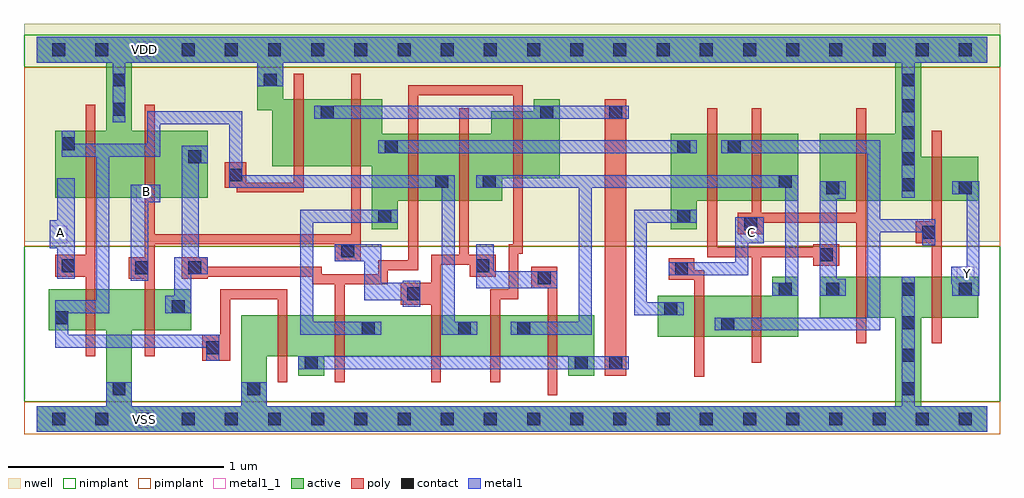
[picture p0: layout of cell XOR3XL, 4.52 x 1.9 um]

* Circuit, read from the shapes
.subckt XOR3XL A B C VDD VSS Y
M1 VSS A n1 VSS nfet w=0.19u l=0.045u
M2 n2 B VSS VSS nfet w=0.19u l=0.045u
M3 n3 n1 VSS VSS nfet w=0.19u l=0.045u
M4 n4 n2 n3 VSS nfet w=0.19u l=0.045u
M5 n1 B n4 VSS nfet w=0.19u l=0.045u
M6 n5 n2 n1 VSS nfet w=0.19u l=0.045u
M7 n3 B n5 VSS nfet w=0.19u l=0.045u
M8 n6 C n4 VSS nfet w=0.19u l=0.045u
M9 n5 n7 n6 VSS nfet w=0.19u l=0.045u
M10 VSS C n7 VSS nfet w=0.19u l=0.045u
M11 Y n6 VSS VSS nfet w=0.19u l=0.045u
M12 VDD A n1 VDD pfet w=0.31u l=0.045u
M13 n2 B VDD VDD pfet w=0.31u l=0.045u
M14 n3 n1 VDD VDD pfet w=0.31u l=0.045u
M15 n4 B n3 VDD pfet w=0.31u l=0.045u
M16 n1 n2 n4 VDD pfet w=0.31u l=0.045u
M17 n5 B n1 VDD pfet w=0.31u l=0.045u
M18 n3 n2 n5 VDD pfet w=0.31u l=0.045u
M19 n6 n7 n4 VDD pfet w=0.31u l=0.045u
M20 n5 C n6 VDD pfet w=0.31u l=0.045u
M21 VDD C n7 VDD pfet w=0.31u l=0.045u
M22 Y n6 VDD VDD pfet w=0.205u l=0.045u
.ends

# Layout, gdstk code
import gdstk
lib = gdstk.Library(unit=1e-6, precision=5e-10)
def R(c, l, rs):  # rectangles x0, y0, x1, y1
    for r in rs: c.add(gdstk.rectangle(r[:2], r[2:], *l))
def A(c, l, x, y, w, h, nx, ny, dx, dy):  # array of equal rectangles
    R(c, l, [(x+i*dx, y+j*dy, x+i*dx+w, y+j*dy+h) for i in range(nx) for j in range(ny)])
def P(c, l, *ps):  # polygons
    for p in ps: c.add(gdstk.Polygon(p, *l))
active = (1, 0)
nwell = (2, 0)
poly = (3, 0)
nimplant = (4, 0)
pimplant = (5, 0)
contact = (6, 0)
metal1 = (7, 0)
metal1_1 = (7, 1)

xor3xl = lib.new_cell('XOR3XL')
P(xor3xl, active, [(2.935,1.32),(3.525,1.32),(3.525,1.01),(3.055,1.01),(3.055,0.88),(2.935,0.88)],
  [(0,1.77),(4.4,1.77),(4.4,1.65),(4.095,1.65),(4.095,1.215),(4.36,1.215),(4.36,1.01),(3.625,1.01),(3.625,1.32),(3.975,1.32),(3.975,1.65),(1.14,1.65),(1.14,1.48),(1.6,1.48),(1.6,1.32),(2.105,1.32),(2.105,1.425),(2.3,1.425),(2.3,1.48),(2.42,1.48),(2.42,1.115),(2.155,1.115),(2.155,1.01),(1.67,1.01),(1.67,0.88),(1.55,0.88),(1.55,1.17),(1.09,1.17),(1.09,1.43),(1.02,1.43),(1.02,1.65),(0.44,1.65),(0.44,1.335),(0.79,1.335),(0.79,1.025),(0.085,1.025),(0.085,1.335),(0.32,1.335),(0.32,1.65),(0,1.65)],
  [(0.055,0.6),(0.715,0.6),(0.715,0.41),(0.44,0.41),(0.44,0.06),(0.945,0.06),(0.945,0.48),(2.58,0.48),(2.58,0.2),(2.46,0.2),(2.46,0.29),(1.33,0.29),(1.33,0.2),(1.21,0.2),(1.21,0.29),(1.065,0.29),(1.065,0.06),(3.975,0.06),(3.975,0.47),(3.625,0.47),(3.625,0.66),(4.36,0.66),(4.36,0.47),(4.095,0.47),(4.095,0.06),(4.4,0.06),(4.4,-0.06),(0,-0.06),(0,0.06),(0.32,0.06),(0.32,0.41),(0.055,0.41)],
  [(3.405,0.66),(3.525,0.66),(3.525,0.38),(2.875,0.38),(2.875,0.57),(3.405,0.57)])
R(xor3xl, nwell, [(-0.06,0.82,4.46,1.83)])
R(xor3xl, poly, [(2.63,0.2,2.73,1.48)])
P(xor3xl, poly, [(0.225,1.455),(0.27,1.455),(0.27,0.29),(0.225,0.29),(0.225,0.66),(0.085,0.66),(0.085,0.76),(0.225,0.76)],
  [(0.5,1.455),(0.545,1.455),(0.545,0.855),(1.455,0.855),(1.455,1.6),(1.5,1.6),(1.5,0.73),(1.38,0.73),(1.38,0.81),(0.545,0.81),(0.545,0.29),(0.5,0.29),(0.5,0.65),(0.425,0.65),(0.425,0.75),(0.5,0.75)],
  [(0.87,1.19),(0.97,1.19),(0.97,1.095),(1.19,1.095),(1.19,1.6),(1.235,1.6),(1.235,1.05),(0.925,1.05),(0.925,1.07),(0.87,1.07)],
  [(3.31,1.44),(3.355,1.44),(3.355,0.955),(3.795,0.955),(3.795,1.44),(3.84,1.44),(3.84,0.35),(3.795,0.35),(3.795,0.91),(3.365,0.91),(3.365,0.855),(3.245,0.855),(3.245,0.955),(3.31,0.955)],
  [(1.72,1.545),(2.25,1.545),(2.25,0.765),(2.23,0.765),(2.23,0.555),(2.145,0.555),(2.145,0.17),(2.1,0.17),(2.1,0.6),(2.185,0.6),(2.185,0.81),(2.205,0.81),(2.205,1.5),(1.765,1.5),(1.765,0.69),(1.625,0.69),(1.625,0.625),(1.425,0.625),(1.425,0.17),(1.38,0.17),(1.38,0.625),(1.275,0.625),(1.275,0.66),(0.79,0.66),(0.79,0.65),(0.67,0.65),(0.67,0.75),(0.79,0.75),(0.79,0.705),(1.32,0.705),(1.32,0.67),(1.58,0.67),(1.58,0.735),(1.72,0.735)],
  [(1.955,1.44),(2,1.44),(2,0.76),(2.125,0.76),(2.125,0.66),(2.005,0.66),(2.005,0.715),(1.87,0.715),(1.87,0.17),(1.825,0.17),(1.825,0.53),(1.685,0.53),(1.685,0.63),(1.825,0.63),(1.825,0.76),(1.955,0.76)],
  [(3.105,1.44),(3.15,1.44),(3.15,0.795),(3.595,0.795),(3.595,0.81),(3.715,0.81),(3.715,0.71),(3.595,0.71),(3.595,0.75),(3.355,0.75),(3.355,0.26),(3.31,0.26),(3.31,0.75),(3.105,0.75)],
  [(0.85,0.6),(1.16,0.6),(1.16,0.17),(1.115,0.17),(1.115,0.555),(0.895,0.555),(0.895,0.27),(0.765,0.27),(0.765,0.39),(0.85,0.39)],
  [(4.145,1.335),(4.19,1.335),(4.19,0.35),(4.145,0.35),(4.145,0.815),(4.07,0.815),(4.07,0.915),(4.145,0.915)],
  [(2.29,0.705),(2.41,0.705),(2.41,0.11),(2.365,0.11),(2.365,0.605),(2.29,0.605)],
  [(2.925,0.745),(3.045,0.745),(3.045,0.69),(3.09,0.69),(3.09,0.195),(3.045,0.195),(3.045,0.645),(2.925,0.645)])
R(xor3xl, nimplant, [(-0.06,0.08,4.46,0.8), (-0.06,1.63,4.46,1.78)])
R(xor3xl, pimplant, [(-0.06,-0.07,4.46,0.08), (-0.06,0.8,4.46,1.63)])
A(xor3xl, contact, 0.07, -0.03, 0.06, 0.06, 22, 2, 0.2, 1.71)
A(xor3xl, contact, 4.005, 1.055, 0.06, 0.06, 1, 3, 0, 0.12)
R(xor3xl, contact, [(0.35,0.11,0.41,0.17), (0.975,0.11,1.035,0.17), (4.005,0.11,4.065,0.17), (1.24,0.23,1.3,0.29), (2.49,0.23,2.55,0.29), (2.65,0.23,2.71,0.29), (4.005,0.265,4.065,0.325), (0.785,0.3,0.845,0.36), (1.505,0.39,1.565,0.45), (1.95,0.39,2.01,0.45), (2.225,0.39,2.285,0.45), (3.17,0.41,3.23,0.47), (4.005,0.415,4.065,0.475), (0.085,0.44,0.145,0.5), (2.905,0.48,2.965,0.54), (0.625,0.49,0.685,0.55), (1.715,0.55,1.775,0.61), (3.435,0.57,3.495,0.63), (3.655,0.57,3.715,0.63), (4.005,0.57,4.065,0.63), (4.27,0.57,4.33,0.63), (2.32,0.625,2.38,0.685), (2.955,0.665,3.015,0.725), (0.455,0.67,0.515,0.73), (0.7,0.67,0.76,0.73), (0.115,0.68,0.175,0.74), (2.035,0.68,2.095,0.74), (3.625,0.73,3.685,0.79), (1.41,0.75,1.47,0.81), (4.1,0.835,4.16,0.895), (3.275,0.875,3.335,0.935), (1.58,0.91,1.64,0.97), (2.965,0.91,3.025,0.97), (3.655,1.04,3.715,1.1), (4.27,1.04,4.33,1.1), (1.845,1.07,1.905,1.13), (2.065,1.07,2.125,1.13), (3.435,1.07,3.495,1.13), (0.89,1.1,0.95,1.16), (0.7,1.185,0.76,1.245), (1.61,1.23,1.67,1.29), (2.965,1.23,3.025,1.29), (3.2,1.23,3.26,1.29), (0.115,1.245,0.175,1.305), (1.315,1.39,1.375,1.45), (2.33,1.39,2.39,1.45), (2.65,1.39,2.71,1.45), (0.35,1.405,0.41,1.465), (4.005,1.42,4.065,1.48), (0.35,1.54,0.41,1.6), (1.05,1.54,1.11,1.6), (4.005,1.54,4.065,1.6)])
R(xor3xl, metal1, [(1.21,0.23,2.74,0.29), (1.58,1.23,3.055,1.29), (1.285,1.39,2.74,1.45)])
P(xor3xl, metal1, [(0,1.77),(4.4,1.77),(4.4,1.65),(4.065,1.65),(4.065,1.025),(4.005,1.025),(4.005,1.65),(1.14,1.65),(1.14,1.54),(1.02,1.54),(1.02,1.65),(0.41,1.65),(0.41,1.375),(0.35,1.375),(0.35,1.65),(0,1.65)],
  [(0.51,1.425),(0.95,1.425),(0.95,1.13),(1.935,1.13),(1.935,0.45),(2.04,0.45),(2.04,0.39),(1.875,0.39),(1.875,1.07),(0.89,1.07),(0.89,1.365),(0.57,1.365),(0.57,1.215),(0.335,1.215),(0.335,0.49),(0.145,0.49),(0.145,0.39),(0.845,0.39),(0.845,0.27),(0.785,0.27),(0.785,0.33),(0.085,0.33),(0.085,0.55),(0.275,0.55),(0.275,1.215),(0.115,1.215),(0.115,1.335),(0.175,1.335),(0.175,1.275),(0.51,1.275)],
  [(3.17,1.29),(3.905,1.29),(3.905,0.925),(4.16,0.925),(4.16,0.805),(4.1,0.805),(4.1,0.865),(3.905,0.865),(3.905,0.41),(3.14,0.41),(3.14,0.47),(3.845,0.47),(3.845,1.23),(3.17,1.23)],
  [(0.67,1.265),(0.79,1.265),(0.79,1.185),(0.75,1.185),(0.75,0.75),(0.79,0.75),(0.79,0.67),(0.715,0.67),(0.715,0.49),(0.595,0.49),(0.595,0.57),(0.635,0.57),(0.635,0.75),(0.67,0.75)],
  [(0.095,1.115),(0.175,1.115),(0.175,0.65),(0.095,0.65),(0.095,0.79),(0.06,0.79),(0.06,0.92),(0.095,0.92)],
  [(0.435,1.085),(0.57,1.085),(0.57,1.005),(0.515,1.005),(0.515,0.64),(0.435,0.64)],
  [(3.625,1.1),(3.745,1.1),(3.745,1.02),(3.705,1.02),(3.705,0.65),(3.745,0.65),(3.745,0.57),(3.625,0.57)],
  [(2.035,1.13),(3.525,1.13),(3.525,0.57),(3.405,0.57),(3.405,0.63),(3.465,0.63),(3.465,1.07),(2.57,1.07),(2.57,0.39),(2.195,0.39),(2.195,0.45),(2.51,0.45),(2.51,1.07),(2.035,1.07)],
  [(1.22,0.97),(1.67,0.97),(1.67,0.91),(1.28,0.91),(1.28,0.45),(1.595,0.45),(1.595,0.39),(1.22,0.39)],
  [(1.38,0.81),(1.595,0.81),(1.595,0.63),(1.695,0.63),(1.695,0.64),(1.775,0.64),(1.775,0.52),(1.695,0.52),(1.695,0.55),(1.515,0.55),(1.515,0.73),(1.38,0.73)],
  [(2.035,0.81),(2.115,0.81),(2.115,0.685),(2.41,0.685),(2.41,0.605),(2.035,0.605)],
  [(2.765,0.97),(3.055,0.97),(3.055,0.91),(2.825,0.91),(2.825,0.54),(2.995,0.54),(2.995,0.48),(2.765,0.48)],
  [(3.235,0.935),(3.365,0.935),(3.365,0.815),(3.295,0.815),(3.295,0.665),(2.925,0.665),(2.925,0.725),(3.235,0.725)],
  [(4.24,1.1),(4.365,1.1),(4.365,0.57),(4.24,0.57),(4.24,0.625),(4.235,0.625),(4.235,0.705),(4.305,0.705),(4.305,1.04),(4.24,1.04)],
  [(0.32,0.17),(0.44,0.17),(0.44,0.06),(0.945,0.06),(0.945,0.17),(1.065,0.17),(1.065,0.06),(4.005,0.06),(4.005,0.66),(4.065,0.66),(4.065,0.06),(4.4,0.06),(4.4,-0.06),(0,-0.06),(0,0.06),(0.32,0.06)])
R(xor3xl, metal1_1, [(0.46,-0.04,0.54,0.04), (4.26,0.625,4.34,0.705), (0.06,0.815,0.14,0.895), (3.26,0.815,3.34,0.895), (0.46,1.005,0.54,1.085), (0.46,1.67,0.54,1.75)])
xor3xl.add(gdstk.Label('VDD', (0.5,1.71), layer=7, texttype=1))
xor3xl.add(gdstk.Label('Y', (4.308,0.673), layer=7, texttype=0))
xor3xl.add(gdstk.Label('A', (0.108,0.863), layer=7, texttype=0))
xor3xl.add(gdstk.Label('B', (0.508,1.053), layer=7, texttype=0))
xor3xl.add(gdstk.Label('C', (3.308,0.863), layer=7, texttype=0))
xor3xl.add(gdstk.Label('VSS', (0.5,0), layer=7, texttype=0))

lib.write_gds('XOR3XL.gds')
